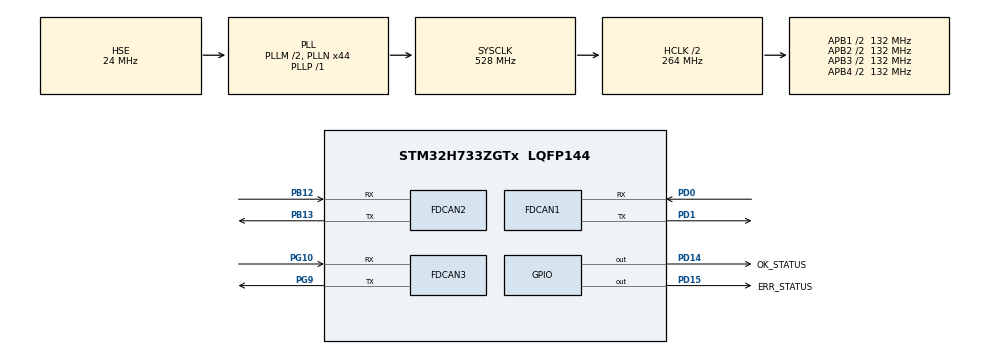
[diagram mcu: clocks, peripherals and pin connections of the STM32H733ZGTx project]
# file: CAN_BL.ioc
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FDCAN1.AutoRetransmission=ENABLE
FDCAN1.CalculateBaudRateNominal=500000
FDCAN1.CalculateTimeBitNominal=2000
FDCAN1.CalculateTimeQuantumNominal=125.0
FDCAN1.ExtFiltersNbr=1
FDCAN1.FrameFormat=FDCAN_FRAME_CLASSIC
FDCAN1.NominalPrescaler=3
FDCAN1.NominalTimeSeg1=10
FDCAN1.NominalTimeSeg2=5
FDCAN1.RxBuffersNbr=0
FDCAN1.RxFifo0ElmtSize=FDCAN_DATA_BYTES_8
FDCAN1.RxFifo0ElmtsNbr=16
FDCAN1.RxFifo1ElmtsNbr=16
FDCAN1.StdFiltersNbr=2
FDCAN1.TxBuffersNbr=0
FDCAN1.TxEventsNbr=0
FDCAN1.TxFifoQueueElmtsNbr=16
FDCAN2.AutoRetransmission=ENABLE
FDCAN2.CalculateBaudRateNominal=500000
FDCAN2.CalculateTimeBitNominal=2000
FDCAN2.CalculateTimeQuantumNominal=125.0
FDCAN2.ExtFiltersNbr=1
FDCAN2.FrameFormat=FDCAN_FRAME_CLASSIC
FDCAN2.NominalPrescaler=3
FDCAN2.NominalTimeSeg1=10
FDCAN2.NominalTimeSeg2=5
FDCAN2.RxBuffersNbr=0
FDCAN2.RxFifo0ElmtSize=FDCAN_DATA_BYTES_8
FDCAN2.RxFifo0ElmtsNbr=16
FDCAN2.RxFifo1ElmtsNbr=16
FDCAN2.StdFiltersNbr=2
FDCAN2.TxBuffersNbr=0
FDCAN2.TxEventsNbr=0
FDCAN2.TxFifoQueueElmtsNbr=16
FDCAN3.AutoRetransmission=ENABLE
FDCAN3.CalculateBaudRateNominal=500000
FDCAN3.CalculateTimeBitNominal=2000
FDCAN3.CalculateTimeQuantumNominal=125.0
FDCAN3.ExtFiltersNbr=1
FDCAN3.FrameFormat=FDCAN_FRAME_CLASSIC
FDCAN3.NominalPrescaler=3
FDCAN3.NominalTimeSeg1=10
FDCAN3.NominalTimeSeg2=5
FDCAN3.RxBuffersNbr=0
FDCAN3.RxFifo0ElmtSize=FDCAN_DATA_BYTES_8
FDCAN3.RxFifo0ElmtsNbr=16
FDCAN3.RxFifo1ElmtsNbr=16
FDCAN3.StdFiltersNbr=2
FDCAN3.TxBuffersNbr=0
FDCAN3.TxEventsNbr=0
FDCAN3.TxFifoQueueElmtsNbr=16
Mcu.Family=STM32H7
Mcu.Name=STM32H733ZGTx
Mcu.Package=LQFP144
NVIC.FDCAN1_IT0_IRQn=true\:2\:0\:true\:false\:true\:true\:true\:true
NVIC.FDCAN2_IT0_IRQn=true\:2\:0\:true\:false\:true\:true\:true\:true
NVIC.FDCAN3_IT0_IRQn=true\:2\:0\:true\:false\:true\:true\:true\:true
NVIC.PriorityGroup=NVIC_PRIORITYGROUP_4
PA13(JTMS/SWDIO).Mode=Serial_Wire
PA13(JTMS/SWDIO).Signal=DEBUG_JTMS-SWDIO
PA14(JTCK/SWCLK).Mode=Serial_Wire
PA14(JTCK/SWCLK).Signal=DEBUG_JTCK-SWCLK
PB12.Mode=FDCAN_Activate
PB12.Signal=FDCAN2_RX
PB13.Mode=FDCAN_Activate
PB13.Signal=FDCAN2_TX
PD0.Mode=FDCAN_Activate
PD0.Signal=FDCAN1_RX
PD1.Mode=FDCAN_Activate
PD1.Signal=FDCAN1_TX
PD14.GPIO_Label=OK_STATUS
PD14.Signal=GPIO_Output
PD15.GPIO_Label=ERR_STATUS
PD15.Signal=GPIO_Output
PG10.Mode=FDCAN_Activate
PG10.Signal=FDCAN3_RX
PG9.Mode=FDCAN_Activate
PG9.Signal=FDCAN3_TX
PH0-OSC_IN.Mode=HSE-External-Oscillator
PH0-OSC_IN.Signal=RCC_OSC_IN
PH1-OSC_OUT.Mode=HSE-External-Oscillator
PH1-OSC_OUT.Signal=RCC_OSC_OUT
ProjectManager.HeapSize=0x200
ProjectManager.StackSize=0x400
ProjectManager.TargetToolchain=CMake
RCC.ADCCLockSelection=RCC_ADCCLKSOURCE_PLL2
RCC.ADCFreq_Value=96000000
RCC.APB1Freq_Value=132000000
RCC.APB2Freq_Value=132000000
RCC.APB3Freq_Value=132000000
RCC.APB4Freq_Value=132000000
RCC.CECCLockSelection=RCC_CECCLKSOURCE_LSI
RCC.CKPERSourceSelection=RCC_CLKPSOURCE_HSI
RCC.CSI_VALUE=4000000
RCC.CortexFreq_Value=528000000
RCC.Cortex_DivARG=SystemCoreClock/1000
RCC.D1PPRE=RCC_APB3_DIV2
RCC.D2PPRE1=RCC_APB1_DIV2
RCC.D2PPRE2=RCC_APB2_DIV2
RCC.D3PPRE=RCC_APB4_DIV2
RCC.DFSDMCLockSelection=RCC_DFSDM1CLKSOURCE_D2PCLK1
RCC.DIVM1=2
RCC.DIVM2=2
RCC.DIVN1=44
RCC.DIVN2=16
RCC.DIVP1=1
RCC.DIVQ1=4
RCC.DIVR2=1
RCC.EXTERNAL_CLOCK_VALUE=12288000
RCC.FDCANCLockSelection=RCC_FDCANCLKSOURCE_HSE
RCC.FMCCLockSelection=RCC_FMCCLKSOURCE_D1HCLK
RCC.HCLKFreq_Value=264000000
RCC.HPRE=RCC_HCLK_DIV2
RCC.HSE_VALUE=24000000
RCC.HSI48_VALUE=48000000
RCC.HSI_VALUE=64000000
RCC.I2C123CLockSelection=RCC_I2C1235CLKSOURCE_D2PCLK1
RCC.I2C4CLockSelection=RCC_I2C4CLKSOURCE_D3PCLK1
RCC.LPTIM1CLockSelection=RCC_LPTIM1CLKSOURCE_D2PCLK1
RCC.LPTIM2CLockSelection=RCC_LPTIM2CLKSOURCE_D3PCLK1
RCC.LPTIM345CLockSelection=RCC_LPTIM345CLKSOURCE_D3PCLK1
RCC.LPUART1CLockSelection=RCC_LPUART1CLKSOURCE_D3PCLK1
RCC.LSE_VALUE=32768
RCC.PLL2FRACN=0
RCC.PLL3FRACN=0
RCC.PLLFRACN=0
RCC.PLLSourceVirtual=RCC_PLLSOURCE_HSE
RCC.QSPICLockSelection=RCC_OSPICLKSOURCE_D1HCLK
RCC.RCC_MCO1Source=RCC_MCO1SOURCE_HSI
RCC.RCC_MCO2Source=RCC_MCO2SOURCE_SYSCLK
RCC.RNGCLockSelection=RCC_RNGCLKSOURCE_HSI48
RCC.SAI1CLockSelection=RCC_SAI1CLKSOURCE_PLL
RCC.SAI4ACLockSelection=RCC_SAI4ACLKSOURCE_PLL
RCC.SAI4BCLockSelection=RCC_SAI4BCLKSOURCE_PLL
RCC.SDMMC1CLockSelection=RCC_SDMMCCLKSOURCE_PLL2
RCC.SPDIFCLockSelection=RCC_SPDIFRXCLKSOURCE_PLL
RCC.SPI123CLockSelection=RCC_SPI123CLKSOURCE_PLL
RCC.SPI6CLockSelection=RCC_SPI6CLKSOURCE_D3PCLK1
RCC.SWPCLockSelection=RCC_SWPMI1CLKSOURCE_D2PCLK1
RCC.SYSCLKFreq_VALUE=528000000
RCC.SYSCLKSource=RCC_SYSCLKSOURCE_PLLCLK
RCC.Spi45ClockSelection=RCC_SPI45CLKSOURCE_D2PCLK1
RCC.USART16CLockSelection=RCC_USART16910CLKSOURCE_D2PCLK2
RCC.USART234578CLockSelection=RCC_USART234578CLKSOURCE_D2PCLK1
RCC.USBCLockSelection=RCC_USBCLKSOURCE_PLL
RCC.USBFreq_Value=132000000
VP_MEMORYMAP_VS_MEMORYMAP.Mode=CurAppReg
board=custom

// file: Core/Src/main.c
/* USER CODE BEGIN Header */
/**
 ******************************************************************************
 * @file           : main.c
 * @brief          : Main program body
 ******************************************************************************
 * @attention
 *
 * Copyright (c) 2025 STMicroelectronics.
 * All rights reserved.
 *
 * This software is licensed under terms that can be found in the LICENSE file
 * in the root directory of this software component.
 * If no LICENSE file comes with this software, it is provided AS-IS.
 *
 ******************************************************************************
 */
/* USER CODE END Header */
#include "main.h"

/* USER CODE BEGIN Includes */

#include "stm32h7xx_hal.h"
#include "stm32h7xx_hal_rcc_ex.h"
#include "stm32h7xx_hal_pwr_ex.h"

#include "bl_app_validate.h"
#include "bl_memmap.h"
#include "bl_config.h"
#include "bl_dtc.h"
#include "bl_fault.h"
#include "bl_fdcan.h"
#include "bl_flashcount.h"
#include "bl_health.h"
#include "bl_iwdg.h"
#include "bl_live.h"
#include "bl_log.h"
#include "bl_node_id.h"
#include "bl_nvm.h"
#include "bl_provision.h"
#include "bl_obyte.h"
#include "bl_proto.h"

/* USER CODE END Includes */

/* USER CODE BEGIN PTD */
typedef void (*pFunction)(void);
/* USER CODE END PTD */

/* USER CODE BEGIN PD */
/* Flash layout / magic values come from bl_memmap.h.
 * Protocol constants and opcodes come from bl_proto.h. */

#define LED_OK_ON()         HAL_GPIO_WritePin(OK_STATUS_GPIO_Port, OK_STATUS_Pin, GPIO_PIN_SET)
#define LED_OK_OFF()        HAL_GPIO_WritePin(OK_STATUS_GPIO_Port, OK_STATUS_Pin, GPIO_PIN_RESET)
#define LED_OK_TOGGLE()		HAL_GPIO_TogglePin(OK_STATUS_GPIO_Port, OK_STATUS_Pin)

#define LED_ERR_ON()         HAL_GPIO_WritePin(ERR_STATUS_GPIO_Port, ERR_STATUS_Pin, GPIO_PIN_SET)
#define LED_ERR_OFF()        HAL_GPIO_WritePin(ERR_STATUS_GPIO_Port, ERR_STATUS_Pin, GPIO_PIN_RESET)
#define LED_ERR_TOGGLE()	 HAL_GPIO_TogglePin(ERR_STATUS_GPIO_Port, ERR_STATUS_Pin)

/* USER CODE END PD */

FDCAN_HandleTypeDef hfdcan1;
FDCAN_HandleTypeDef hfdcan2;
FDCAN_HandleTypeDef hfdcan3;

/* USER CODE BEGIN PV */
static uint8_t  g_AutoJumpEnabled  = 0U;
static uint32_t g_AutoJumpDeadline = 0U;

/* #146 H2: cache the (full-image-CRC) Bootloader_CheckApplication result so
 * the per-tick hot path (bl_health / bl_live, every main-loop iteration
 * during a session) doesn't re-CRC the whole app each pass and stall the RX
 * drain. Invalidated on any FLASH_* op via Bootloader_InvalidateAppCheckCache(). */
static uint8_t  g_appcheck_result = 0xFFU;
static uint8_t  g_appcheck_valid  = 0U;

/* #166/G-A2/NG-1: set once at boot from the bl_appcheck breadcrumb — true when
 * a PRIOR boot faulted while reading flash (the double-bit-ECC-on-partial-write
 * trap). On a recovery boot the BL skips every sector-7 + app read (which would
 * re-fault) and comes up minimal + reachable: NVM degraded, node-id at the
 * compile-time default, app reported invalid. */
static uint8_t  g_ecc_recovery = 0U;

/* USER CODE END PV */

void SystemClock_Config(void);
static void MX_GPIO_Init(void);
static void MX_FDCAN1_Init(void);
static void MX_FDCAN2_Init(void);
static void MX_FDCAN3_Init(void);
/* USER CODE BEGIN PFP */
static void Bootloader_Init(void);
static void Bootloader_MainLoop(void);
static void Bootloader_FdcanBusOffRecover(uint32_t now_ms);
/* Bootloader_ConfigFdcanFilters moved to bl_fdcan_configure_filters in
 * bl_fdcan.c (#120 Phase A) — see bl_fdcan.h. */
/* Bootloader_JumpToApplication / Bootloader_CheckApplication are declared
 * with external linkage in main.h so bl_proto.c can call them for
 * CMD_RESET (mode=to-app) and CMD_JUMP. */
static uint32_t Bootloader_CalcCrc32(uint32_t address, uint32_t lengthBytes);
static uint8_t  Bootloader_CheckApplicationCompute(void);   /* #146 H2: uncached core */
static uint8_t  Bootloader_CheckApplicationInner(void);     /* #166: raw read, ECC-unsafe */
static uint8_t  Bootloader_IsBootRequestActive(void);
static uint8_t  Bootloader_IsBootAppRequestActive(void);   /* #142 */

/* USER CODE END PFP */

int main(void)
{

  /* USER CODE BEGIN 1 */
	/* #174 (NG-2 / NG-11): arm the IWDG as the very FIRST thing the BL does —
	 * before HAL_Init and SystemClock_Config. bl_iwdg_start is pure IWDG1
	 * register writes off the LSI, with no HAL or main-clock dependency, so it
	 * is safe here. This backstops every cold-boot hang that runs before the
	 * watchdog used to be armed in Bootloader_Init — most importantly the
	 * unbounded VOSRDY wait in SystemClock_Config (a regulator that never
	 * reports ready would otherwise hang forever with no recovery) — and
	 * re-periods the inherited ~100 ms app IWDG (the 0x002 app->BL reset path)
	 * to the BL's ~8 s at the earliest possible instant. Bootloader_Init
	 * re-arms it once the clocks are up. */
	bl_iwdg_start();
  /* USER CODE END 1 */

  /* MCU Configuration--------------------------------------------------------*/

  /* Reset of all peripherals, Initializes the Flash interface and the Systick. */
  HAL_Init();

  /* Configure the system clock */
  SystemClock_Config();

  /* USER CODE BEGIN SysInit */
	/* #174 (NG-4): enable the HSE Clock Security System now the PLL is locked.
	 * If the HSE dies at runtime (cracked crystal, vibration, solder fatigue)
	 * the CSS raises an NMI -> NMI_Handler -> bl_fault_reboot, turning a silent
	 * hung-clock state into a deterministic reboot. NOTE: the FDCAN kernel clock
	 * is wired to the HSE, so CAN is still dead after such a reboot — crystal-
	 * independent CAN (FDCAN off a PLL/HSI source) is the larger fix tracked in
	 * #163; CSS here is the cheap deterministic-failure half. */
	HAL_RCC_EnableCSS();
  /* USER CODE END SysInit */

  /* Initialize all configured peripherals */
  MX_GPIO_Init();
  MX_FDCAN1_Init();
  MX_FDCAN2_Init();
  MX_FDCAN3_Init();
  /* USER CODE BEGIN 2 */

	Bootloader_Init();
	Bootloader_MainLoop();  /* never returns — either auto-jumps to app
	                           or keeps serving CAN frames forever */

  /* USER CODE END 2 */

  /* Infinite loop */
	while (1) {

	}
}

void SystemClock_Config(void)
{
  RCC_OscInitTypeDef RCC_OscInitStruct = {0};
  RCC_ClkInitTypeDef RCC_ClkInitStruct = {0};

  /** Supply configuration update enable
  */
  HAL_PWREx_ConfigSupply(PWR_LDO_SUPPLY);

  /** Configure the main internal regulator output voltage
  */
  __HAL_PWR_VOLTAGESCALING_CONFIG(PWR_REGULATOR_VOLTAGE_SCALE0);

  while(!__HAL_PWR_GET_FLAG(PWR_FLAG_VOSRDY)) {}

  /** Initializes the RCC Oscillators according to the specified parameters
  * in the RCC_OscInitTypeDef structure.
  */
  RCC_OscInitStruct.OscillatorType = RCC_OSCILLATORTYPE_HSE;
  RCC_OscInitStruct.HSEState = RCC_HSE_ON;
  RCC_OscInitStruct.PLL.PLLState = RCC_PLL_ON;
  RCC_OscInitStruct.PLL.PLLSource = RCC_PLLSOURCE_HSE;
  RCC_OscInitStruct.PLL.PLLM = 2;
  RCC_OscInitStruct.PLL.PLLN = 44;
  RCC_OscInitStruct.PLL.PLLP = 1;
  RCC_OscInitStruct.PLL.PLLQ = 4;
  RCC_OscInitStruct.PLL.PLLR = 2;
  RCC_OscInitStruct.PLL.PLLRGE = RCC_PLL1VCIRANGE_3;
  RCC_OscInitStruct.PLL.PLLVCOSEL = RCC_PLL1VCOWIDE;
  RCC_OscInitStruct.PLL.PLLFRACN = 0;
  if (HAL_RCC_OscConfig(&RCC_OscInitStruct) != HAL_OK)
  {
    Error_Handler();
  }

  /** Initializes the CPU, AHB and APB buses clocks
  */
  RCC_ClkInitStruct.ClockType = RCC_CLOCKTYPE_HCLK|RCC_CLOCKTYPE_SYSCLK
                              |RCC_CLOCKTYPE_PCLK1|RCC_CLOCKTYPE_PCLK2
                              |RCC_CLOCKTYPE_D3PCLK1|RCC_CLOCKTYPE_D1PCLK1;
  RCC_ClkInitStruct.SYSCLKSource = RCC_SYSCLKSOURCE_PLLCLK;
  RCC_ClkInitStruct.SYSCLKDivider = RCC_SYSCLK_DIV1;
  RCC_ClkInitStruct.AHBCLKDivider = RCC_HCLK_DIV2;
  RCC_ClkInitStruct.APB3CLKDivider = RCC_APB3_DIV2;
  RCC_ClkInitStruct.APB1CLKDivider = RCC_APB1_DIV2;
  RCC_ClkInitStruct.APB2CLKDivider = RCC_APB2_DIV2;
  RCC_ClkInitStruct.APB4CLKDivider = RCC_APB4_DIV2;

  if (HAL_RCC_ClockConfig(&RCC_ClkInitStruct, FLASH_LATENCY_3) != HAL_OK)
  {
    Error_Handler();
  }
}

/* #144 (C6): the FDCAN nominal bit-timing in MX_FDCAN{1,2,3}_Init below
 * (NominalPrescaler=3, Seg1=10, Seg2=5 -> 16 Tq) yields exactly 500 kbps at a
 * 68.75% sample point ONLY with a 24 MHz FDCAN kernel clock — which is the HSE
 * crystal (RCC_FDCANCLKSOURCE_HSE, see stm32h7xx_hal_msp.c). A mis-stuffed
 * crystal silently shifts the baud out of CAN tolerance: the BL comes up
 * "alive" but unreachable on the bus — the worst failure for a flash tool. So
 * 24 MHz is a hard BOM requirement; fail the BUILD rather than ship a brick.
 * If the crystal ever changes, re-derive the three MX_FDCAN*_Init timings +
 * this assert.
 *
 * #171: reverted 1 Mbps -> 500 kbps. 1 Mbps ran too close to the bus's
 * signal-integrity margin — mid-write bit errors turned routine reflashes into
 * #166 bricks. 500 kbps (doubled bit time) at a 68.75% sample point restores
 * the margin; the multi-bus design (#120) is unchanged, only the rate. The
 * timing (Prescaler 3, Seg1 10, Seg2 5, 16 Tq) is matched bit-for-bit to the
 * AMS app's revert (IFS08-CE-AMS#351) so every node on the bus samples at the
 * same point. */
_Static_assert(HSE_VALUE == 24000000UL,
               "FDCAN bit-timing assumes a 24 MHz HSE (RCC_FDCANCLKSOURCE_HSE); "
               "a different crystal shifts the CAN baud out of tolerance — "
               "re-derive MX_FDCAN*_Init Prescaler/Seg1/Seg2 or fix the BOM (#144)");

static void MX_FDCAN1_Init(void)
{

  hfdcan1.Instance = FDCAN1;
  hfdcan1.Init.FrameFormat = FDCAN_FRAME_CLASSIC;
  hfdcan1.Init.Mode = FDCAN_MODE_NORMAL;
  hfdcan1.Init.AutoRetransmission = ENABLE;   /* #94: MUST be ENABLE — lost-arbitration frames retried, not silently dropped */
  hfdcan1.Init.TransmitPause = DISABLE;
  hfdcan1.Init.ProtocolException = DISABLE;
  hfdcan1.Init.NominalPrescaler = 3;
  hfdcan1.Init.NominalSyncJumpWidth = 1;
  hfdcan1.Init.NominalTimeSeg1 = 10;
  hfdcan1.Init.NominalTimeSeg2 = 5;
  hfdcan1.Init.DataPrescaler = 1;
  hfdcan1.Init.DataSyncJumpWidth = 1;
  hfdcan1.Init.DataTimeSeg1 = 1;
  hfdcan1.Init.DataTimeSeg2 = 1;
  hfdcan1.Init.MessageRAMOffset = 0;
  hfdcan1.Init.StdFiltersNbr = 2;
  hfdcan1.Init.ExtFiltersNbr = 1;
  hfdcan1.Init.RxFifo0ElmtsNbr = 16;
  hfdcan1.Init.RxFifo0ElmtSize = FDCAN_DATA_BYTES_8;
  hfdcan1.Init.RxFifo1ElmtsNbr = 16;
  hfdcan1.Init.RxFifo1ElmtSize = FDCAN_DATA_BYTES_8;
  hfdcan1.Init.RxBuffersNbr = 0;
  hfdcan1.Init.RxBufferSize = FDCAN_DATA_BYTES_8;
  hfdcan1.Init.TxEventsNbr = 0;
  hfdcan1.Init.TxBuffersNbr = 0;
  hfdcan1.Init.TxFifoQueueElmtsNbr = 16;
  hfdcan1.Init.TxFifoQueueMode = FDCAN_TX_FIFO_OPERATION;
  hfdcan1.Init.TxElmtSize = FDCAN_DATA_BYTES_8;
  if (HAL_FDCAN_Init(&hfdcan1) != HAL_OK)
  {
    Error_Handler();
  }

}

static void MX_FDCAN2_Init(void)
{

  hfdcan2.Instance = FDCAN2;
  hfdcan2.Init.FrameFormat = FDCAN_FRAME_CLASSIC;
  hfdcan2.Init.Mode = FDCAN_MODE_NORMAL;
  hfdcan2.Init.AutoRetransmission = ENABLE;   /* #94: MUST be ENABLE — lost-arbitration frames retried, not silently dropped */
  hfdcan2.Init.TransmitPause = DISABLE;
  hfdcan2.Init.ProtocolException = DISABLE;
  hfdcan2.Init.NominalPrescaler = 3;
  hfdcan2.Init.NominalSyncJumpWidth = 1;
  hfdcan2.Init.NominalTimeSeg1 = 10;
  hfdcan2.Init.NominalTimeSeg2 = 5;
  hfdcan2.Init.DataPrescaler = 1;
  hfdcan2.Init.DataSyncJumpWidth = 1;
  hfdcan2.Init.DataTimeSeg1 = 1;
  hfdcan2.Init.DataTimeSeg2 = 1;
  hfdcan2.Init.MessageRAMOffset = 0;
  hfdcan2.Init.StdFiltersNbr = 2;
  hfdcan2.Init.ExtFiltersNbr = 1;
  hfdcan2.Init.RxFifo0ElmtsNbr = 16;
  hfdcan2.Init.RxFifo0ElmtSize = FDCAN_DATA_BYTES_8;
  hfdcan2.Init.RxFifo1ElmtsNbr = 16;
  hfdcan2.Init.RxFifo1ElmtSize = FDCAN_DATA_BYTES_8;
  hfdcan2.Init.RxBuffersNbr = 0;
  hfdcan2.Init.RxBufferSize = FDCAN_DATA_BYTES_8;
  hfdcan2.Init.TxEventsNbr = 0;
  hfdcan2.Init.TxBuffersNbr = 0;
  hfdcan2.Init.TxFifoQueueElmtsNbr = 16;
  hfdcan2.Init.TxFifoQueueMode = FDCAN_TX_FIFO_OPERATION;
  hfdcan2.Init.TxElmtSize = FDCAN_DATA_BYTES_8;
  if (HAL_FDCAN_Init(&hfdcan2) != HAL_OK)
  {
    Error_Handler();
  }

}

static void MX_FDCAN3_Init(void)
{

  hfdcan3.Instance = FDCAN3;
  hfdcan3.Init.FrameFormat = FDCAN_FRAME_CLASSIC;
  hfdcan3.Init.Mode = FDCAN_MODE_NORMAL;
  hfdcan3.Init.AutoRetransmission = ENABLE;   /* #94: MUST be ENABLE — lost-arbitration frames retried, not silently dropped */
  hfdcan3.Init.TransmitPause = DISABLE;
  hfdcan3.Init.ProtocolException = DISABLE;
  hfdcan3.Init.NominalPrescaler = 3;
  hfdcan3.Init.NominalSyncJumpWidth = 1;
  hfdcan3.Init.NominalTimeSeg1 = 10;
  hfdcan3.Init.NominalTimeSeg2 = 5;
  hfdcan3.Init.DataPrescaler = 1;
  hfdcan3.Init.DataSyncJumpWidth = 1;
  hfdcan3.Init.DataTimeSeg1 = 1;
  hfdcan3.Init.DataTimeSeg2 = 1;
  hfdcan3.Init.MessageRAMOffset = 0;
  hfdcan3.Init.StdFiltersNbr = 2;
  hfdcan3.Init.ExtFiltersNbr = 1;
  hfdcan3.Init.RxFifo0ElmtsNbr = 16;
  hfdcan3.Init.RxFifo0ElmtSize = FDCAN_DATA_BYTES_8;
  hfdcan3.Init.RxFifo1ElmtsNbr = 16;
  hfdcan3.Init.RxFifo1ElmtSize = FDCAN_DATA_BYTES_8;
  hfdcan3.Init.RxBuffersNbr = 0;
  hfdcan3.Init.RxBufferSize = FDCAN_DATA_BYTES_8;
  hfdcan3.Init.TxEventsNbr = 0;
  hfdcan3.Init.TxBuffersNbr = 0;
  hfdcan3.Init.TxFifoQueueElmtsNbr = 16;
  hfdcan3.Init.TxFifoQueueMode = FDCAN_TX_FIFO_OPERATION;
  hfdcan3.Init.TxElmtSize = FDCAN_DATA_BYTES_8;
  if (HAL_FDCAN_Init(&hfdcan3) != HAL_OK)
  {
    Error_Handler();
  }

}

static void MX_GPIO_Init(void)
{
  GPIO_InitTypeDef GPIO_InitStruct = {0};

  /* GPIO Ports Clock Enable */
  __HAL_RCC_GPIOH_CLK_ENABLE();
  __HAL_RCC_GPIOB_CLK_ENABLE();
  __HAL_RCC_GPIOD_CLK_ENABLE();
  __HAL_RCC_GPIOA_CLK_ENABLE();
  __HAL_RCC_GPIOG_CLK_ENABLE();

  /*Configure GPIO pin Output Level */
  HAL_GPIO_WritePin(GPIOD, OK_STATUS_Pin|ERR_STATUS_Pin, GPIO_PIN_RESET);

  /*Configure GPIO pins : OK_STATUS_Pin ERR_STATUS_Pin */
  GPIO_InitStruct.Pin = OK_STATUS_Pin|ERR_STATUS_Pin;
  GPIO_InitStruct.Mode = GPIO_MODE_OUTPUT_PP;
  GPIO_InitStruct.Pull = GPIO_NOPULL;
  GPIO_InitStruct.Speed = GPIO_SPEED_FREQ_LOW;
  HAL_GPIO_Init(GPIOD, &GPIO_InitStruct);

}

/* USER CODE BEGIN 4 */

/* ===================== BOOTLOADER CORE ========================= */

static void Bootloader_Init(void) {
	/* #125 H6 / #174: re-arm + reload the IWDG. The PRIMARY arm now happens
	 * as the first statement of main() (NG-2/NG-11) so the watchdog covers
	 * clock bring-up too; this call re-confirms the BL's ~8 s period and
	 * gives a fresh reload now that the (potentially slow) clock + FDCAN
	 * init is done, before the NVM scan / filter config below. Idempotent. */
	bl_iwdg_start();

	LED_OK_ON();
	LED_ERR_OFF();

	/* #125 H6: enable the DWT cycle counter, used by bl_flash_erase to
	 * time the erase. HAL_GetTick can't measure it — on the single-bank
	 * H733 the CPU stalls on instruction fetch for the whole erase, so
	 * SysTick interrupts starve and the tick barely advances. CYCCNT is
	 * clock-driven and counts through the stall. Set once, here. */
	CoreDebug->DEMCR |= CoreDebug_DEMCR_TRCENA_Msk;
	DWT->CYCCNT = 0U;
	DWT->CTRL  |= DWT_CTRL_CYCCNTENA_Msk;

	/* Latch the reset cause before anything else has a chance to clear
	 * RCC->RSR. Health reporting depends on this surviving the rest of
	 * the boot sequence. (The persistent flash-op counter is restored
	 * later, after bl_nvm_init — see bl_flashcount_restore below.) */
	bl_health_init();

	/* Bring up the DTC table in Backup SRAM. Runs after bl_health_init
	 * so bl_dtc_log can timestamp entries against uptime. Also validates
	 * the magic so a power-cycled BKPSRAM starts from a clean slate. */
	bl_dtc_init();

	/* Bring up the log ring in Backup SRAM (adjacent to the DTC table).
	 * Same persistence semantics — a host that reconnects after a crash
	 * can replay the last ~1 KB of bootloader log by issuing
	 * LOG_STREAM_START. */
	bl_log_init();
	bl_log_info("bootloader up (reset_cause=%u)",
	            (unsigned int)bl_health_reset_cause());

	/* #125 H6 (reset-on-spin): if the previous boot ended in a
	 * controlled reboot from a terminal fault (a CPU fault handler,
	 * Error_Handler, or a failed FDCAN init), bl_fault left a
	 * reset-surviving breadcrumb. Log it now — in this safe post-reset
	 * context, where bl_dtc_log's NOTIFY path is fine — so the cause is
	 * visible via `diagnose dtc` / health.last_dtc_code. One-shot:
	 * take_pending clears it. */
	uint8_t fault_reason = BL_FAULT_NONE;
	if (bl_fault_take_pending(&fault_reason)) {
		bl_dtc_log(BL_DTC_CPU_FAULT, BL_DTC_SEV_FATAL, (uint32_t)fault_reason);
		bl_log_error("recovered from fault reboot (reason=%u)",
		             (unsigned int)fault_reason);
	}

	/* Zero the live-data counters. The snapshot is pulled together on
	 * demand in bl_live_tick, so no persistent state needs initialising
	 * beyond this. */
	bl_live_init();

	/* #166: clear any flash error/ECC state latched by a prior interrupted
	 * write, before the first flash read (bl_nvm_init below) or any program.
	 * A power-cut mid-write can leave the controller with a stale error or
	 * lock latch that would otherwise reject the recovery reflash. (The
	 * corrupt *word* itself still double-bit-ECC-faults when read — that is
	 * handled by the bl_appcheck guard around app validation; this just keeps
	 * the flash controller's own status clean.) */
	__HAL_FLASH_CLEAR_FLAG(FLASH_FLAG_ALL_ERRORS_BANK1);

	/* #166/G-A2/NG-1: did a prior boot fault while reading flash? bl_appcheck
	 * stamps a reset-surviving breadcrumb on any fault taken while the guard is
	 * armed; consume it once here. The two sector-7 reads below (bl_nvm_init's
	 * scan + the node-id read) run BEFORE CAN is up — an ECC fault in either
	 * would otherwise reboot-loop the chip unreachable, exactly #166 in a read
	 * its app-only guard never covered. */
	g_ecc_recovery = bl_appcheck_take_pending();

	if (g_ecc_recovery) {
		/* Recovery boot: do NOT touch sector 7 (it may re-fault). Come up
		 * minimal + reachable — NVM degraded (no scan; writes rejected until
		 * NVM_FORMAT) and the node-id left at its compile-time default; the app
		 * check is skipped too (Bootloader_CheckApplicationCompute). Recover by
		 * issuing NVM_FORMAT then reflashing; discover the unit at the DEFAULT
		 * node-id meanwhile. */
		bl_log_warn("flash-read ECC fault last boot — NVM+app untrusted; NVM_FORMAT + reflash to recover (default node-id)");
		bl_nvm_init_degraded();
		/* Still resolve the node-id so the RX filter is built — in degraded
		 * mode the NVM read returns NOT_FOUND without scanning sector 7, so
		 * this falls back to the compile-time default id (no fault). */
		bl_node_id_init_from_nvm();
	} else {
		/* Normal boot. Arm the breadcrumb guard around the sector-7 reads so an
		 * ECC fault here recovers (next boot lands in the branch above) instead
		 * of reboot-looping. The __DSB/__ISB before disarm forces any IMPRECISE
		 * bus fault from the reads to retire INSIDE the armed window — on
		 * Cortex-M7 a flash double-bit-ECC fault can be imprecise, and BusFault
		 * is not enabled, so it escalates to HardFault asynchronously (NG-1). */
		bl_appcheck_arm(true);

		/* Scan the NVM sector for the append point + highest seq. Safe even on
		 * a fully-erased sector (g_write_pos lands at 0). */
		bl_nvm_init();

		/* #183: consume a one-shot SWD provisioning seed (present + valid +
		 * no NVM node-id yet) into a proper NVM node-id entry. Inside the guard
		 * so a corrupt seed word ECC-faults into recovery, not a brick; before
		 * the node-id resolve below so a freshly-seeded id takes effect now. */
		(void)bl_provision_consume_seed();

		/* Resolve the effective node ID now that NVM is queryable; must run
		 * BEFORE the FDCAN filter config (the filter is built from the ID). */
		bl_node_id_init_from_nvm();

		/* #187: restore the persistent flash-op counter. Must follow
		 * bl_nvm_init (before it the read scans zero slots and returns
		 * NOT_FOUND -> the counter restarted at 0 every boot) and sits inside
		 * the guard like every other sector-7 read. Skipped on the degraded
		 * path above: the counter starts at 0 for a recovery boot. */
		bl_flashcount_restore();

		__DSB();
		__ISB();
		bl_appcheck_arm(false);
	}

	/* #120: the BL serves all three FDCAN peripherals at once (see
	 * bl_fdcan.c). MX_FDCAN{1,2,3}_Init in main() has already initialised
	 * the handles; the filter config + start_all below bring up every bus,
	 * so a host on whichever bus the board wires CAN to is heard. */

	/* Boot-time WRP self-check. Production-provisioned units are
	 * expected to have sector 0 (the bootloader) WRP-protected; a
	 * missing latch is not fatal but it earns a WARN log line so the
	 * host's log stream flags it on connect. The WRP_PROTECTED flag in
	 * both health and live-data reflects this same check, so a host
	 * can gate OB_APPLY_WRP on the flag. */
	if (!bl_obyte_is_sector_wrp_protected(0U)) {
		bl_log_warn("WRP: bootloader sector 0 not write-protected; run OB_APPLY_WRP to latch");
	}

	/* Filters must be configured while the FDCAN is still in Init mode —
	 * i.e. before HAL_FDCAN_Start. Filter shape is instance-agnostic;
	 * `bl_fdcan_configure_filters` lives in bl_fdcan.c (#120 Phase A)
	 * and accepts the resolved node-id directly so it doesn't have to
	 * include bl_node_id.h itself. */
	if (bl_fdcan_configure_filters(bl_node_id_get()) != HAL_OK) {
		/* #125 H6: a failed FDCAN bring-up used to spin here forever —
		 * the board went dead with no CAN, unflashable. Reboot instead;
		 * a transient init failure self-recovers, and the breadcrumb
		 * surfaces a BL_DTC_CPU_FAULT next boot. */
		LED_ERR_ON();
		bl_fault_reboot(BL_FAULT_FDCAN_INIT);
	}

	if (bl_fdcan_start_all() != HAL_OK) {
		LED_ERR_ON();
		bl_fault_reboot(BL_FAULT_FDCAN_INIT);
	}

	/* #125 M3: guard the issue #94 fix. AutoRetransmission MUST be
	 * ENABLE or lost-arbitration frames are silently dropped while
	 * tx->seq has already advanced — which corrupts multi-frame TX
	 * sequencing on a contended bus (the #94 Bug B signature). That's
	 * set in MX_FDCAN2_Init, but a CubeMX regeneration could flip it
	 * back with no test catching it. Read the LIVE peripheral register
	 * (CCCR.DAR = "Disable Automatic Retransmission") rather than the
	 * RAM Init struct, so this actually reflects hardware state. DAR
	 * set ⇒ retransmission disabled ⇒ regression. Log loudly; the BL
	 * still runs (degraded) so the bus stays reachable to reflash a
	 * corrected build. */
	for (uint8_t b = 0U; b < BL_FDCAN_BUS_COUNT; b++) {
		if ((bl_fdcan_bus(b)->Instance->CCCR & FDCAN_CCCR_DAR) != 0U) {
			bl_log_error("FDCAN%u AutoRetransmission DISABLED (CCCR.DAR set) — "
			             "issue #94 regression; multi-frame TX will desync",
			             (unsigned int)(b + 1U));
		}
	}

	/* NOTE on FDCAN interrupts: the main loop drains RX_FIFO0 by
	 * polling (HAL_FDCAN_GetRxFifoFillLevel + GetRxMessage below), so
	 * we deliberately do NOT activate FDCAN_IT_RX_FIFO0_NEW_MESSAGE.
	 *
	 * The previous code enabled the notification but never overrode
	 * HAL_FDCAN_RxFifo0Callback — so every RX frame entered the IRQ
	 * (FDCAN2_IT0_IRQHandler → HAL_FDCAN_IRQHandler) only to dispatch
	 * the default weak callback and return. Pure overhead, and a
	 * footgun for anyone who later added a real callback expecting
	 * it to actually drive RX while the main loop was still polling
	 * — concurrent drain of the same FIFO would have dropped frames.
	 * Audit follow-up (#68 last bullet). */

	/* #142: honour a one-shot "boot the app" request first. handle_jump /
	 * handle_reset set BL_BOOT_APP_MAGIC + reset when a flash write happened
	 * this session, so a write-then-jump reaches the app through a clean
	 * reset (the flash is idle again, cold-equivalent) rather than a direct
	 * warm jump that can leave the freshly-written app stuck. Jump straight
	 * to the just-written, re-validated app. */
	if (Bootloader_IsBootAppRequestActive()) {
		if (Bootloader_CheckApplication() == 0x00U) {
			Bootloader_JumpToApplication();   /* never returns on success */
		}
		/* App not valid (shouldn't happen right after a verified write) —
		 * fall through to listen mode rather than brick. */
		g_AutoJumpEnabled = 0U;
	} else {
		/* Check if application explicitly requested to stay in bootloader */
		uint8_t bootReq = Bootloader_IsBootRequestActive();

		if (bootReq) {
			/* Stay in bootloader, do not arm auto-jump */
			g_AutoJumpEnabled = 0U;
		} else {
			/* Normal behavior: arm auto-jump if a valid application is present */
			uint8_t appStatus = Bootloader_CheckApplication();
			if (appStatus == 0x00U) {
				g_AutoJumpEnabled = 1U;
				g_AutoJumpDeadline = HAL_GetTick() + 2000U; /* e.g. 2 seconds window */
			} else {
				g_AutoJumpEnabled = 0U;
			}
		}
	}
}

/* #125 C1: poll FDCAN protocol status and recover from Bus_Off.
 *
 * On Bus_Off the M_CAN sets CCCR.INIT and halts both TX and RX — the
 * BL stops ACKing and the host's session dies; the device is
 * unflashable over CAN until a power-cycle (and re-enters Bus_Off if
 * the fault persists). Recovery is a Stop→Start: HAL_FDCAN_Stop puts
 * the peripheral back to READY (INIT stays set), HAL_FDCAN_Start
 * clears INIT and arms the M_CAN's automatic recovery (it rejoins
 * after 128×11 consecutive recessive bits — ~2.8 ms of idle bus at
 * 500 kbps). The two RX filters live in message RAM, which Stop/Start
 * does NOT touch, so they survive — no need to reconfigure.
 *
 * Rate-limit: act on the transition INTO Bus_Off, then at most once
 * per BL_FDCAN_BUSOFF_RETRY_MS while it persists. Without this, calling
 * Stop/Start every loop iteration would continually restart the
 * recovery sequence and the node would never actually rejoin.
 *
 * GetProtocolStatus is a cheap PSR register read; safe to poll every
 * iteration. The Stop/Start only runs on an actual fault (rare).
 *
 * Observability (so the bench can confirm it fired): a per-boot
 * recovery counter in the health record (`fdcan_recovery_count`), a
 * BL_DTC_FDCAN_BUSOFF DTC carrying the attempt count, and a WARN log
 * line. */
#define BL_FDCAN_BUSOFF_RETRY_MS   100U

static void Bootloader_FdcanBusOffRecover(uint32_t now_ms) {
	static uint8_t  s_was_busoff[BL_FDCAN_BUS_COUNT]      = { 0U };
	static uint32_t s_last_attempt_ms[BL_FDCAN_BUS_COUNT] = { 0U };

	/* Each bus recovers independently — one bus going Bus_Off (a shorted
	 * transceiver, a disconnected stub) must not disturb the others. */
	for (uint8_t b = 0U; b < BL_FDCAN_BUS_COUNT; b++) {
		FDCAN_HandleTypeDef *h = bl_fdcan_bus(b);

		FDCAN_ProtocolStatusTypeDef ps = { 0 };
		if (HAL_FDCAN_GetProtocolStatus(h, &ps) != HAL_OK) {
			continue;
		}

		if (ps.BusOff == 0U) {
			s_was_busoff[b] = 0U;
			continue;
		}

		/* Bus_Off is set. Act on the first detection, then rate-limited. */
		if (s_was_busoff[b] != 0U &&
		    (now_ms - s_last_attempt_ms[b]) < BL_FDCAN_BUSOFF_RETRY_MS) {
			continue;
		}
		s_was_busoff[b]      = 1U;
		s_last_attempt_ms[b] = now_ms;

		/* Stop/Start to clear INIT and rejoin. */
		(void)HAL_FDCAN_Stop(h);
		HAL_StatusTypeDef start_rc = HAL_FDCAN_Start(h);

		/* #174 (NG-9): a Stop/Start timeout latches h->State = ERROR, after
		 * which EVERY later HAL_FDCAN_Stop/Start is a no-op — the retry below
		 * would spin forever and the bus would wedge permanently deaf. If the
		 * Start didn't take, force the HAL back to READY (clearing any latched
		 * error) so the next poll genuinely re-attempts the rejoin instead of
		 * silently no-opping. */
		if (start_rc != HAL_OK) {
			h->State     = HAL_FDCAN_STATE_READY;
			h->ErrorCode = HAL_FDCAN_ERROR_NONE;
		}

		bl_health_record_fdcan_recovery();
		bl_dtc_log(BL_DTC_FDCAN_BUSOFF, BL_DTC_SEV_WARN,
		           bl_health_fdcan_recovery_count());
		bl_log_warn("FDCAN%u bus-off — Stop/Start recovery #%u",
		            (unsigned int)(b + 1U),
		            (unsigned int)bl_health_fdcan_recovery_count());
	}
}

/* #125 H3: max RX frames drained per main-loop pass. Sized to the
 * RX_FIFO0 depth (MX_FDCAN2_Init's RxFifo0ElmtsNbr = 16) so a full
 * FIFO can be cleared in one pass, while bounding the work so the
 * per-pass ticks (session watchdog, bus-off recovery) always run. */
#define BL_FDCAN_RX_DRAIN_BUDGET   16U

/* Drain up to BL_FDCAN_RX_DRAIN_BUDGET frames from one bus's RX FIFO0 and
 * dispatch each to the protocol layer (#120: the BL serves all three FDCAN
 * buses concurrently). Bounding the per-bus batch keeps a continuous flood
 * on one bus from starving the others — or the per-pass ticks. Each reply
 * is routed back to this bus via bl_fdcan_set_active(). */
static void Bootloader_DrainBus(FDCAN_HandleTypeDef *h) {
	FDCAN_RxHeaderTypeDef rxHeader;
	uint8_t rxData[8];

	uint8_t rx_budget = BL_FDCAN_RX_DRAIN_BUDGET;
	while (rx_budget > 0U &&
	       HAL_FDCAN_GetRxFifoFillLevel(h, FDCAN_RX_FIFO0) > 0U) {
		rx_budget--;
		if (HAL_FDCAN_GetRxMessage(h, FDCAN_RX_FIFO0, &rxHeader, rxData) != HAL_OK) {
			continue;
		}

		/* The bootloader only speaks classic 11-bit IDs; any extended-ID
		 * frame is ignored entirely. */
		if (rxHeader.IdType != FDCAN_STANDARD_ID) {
			continue;
		}

		/* `bl_proto_parse_id` returns false on malformed IDs (bits 10..5
		 * set, or reserved node→host IDs). This is the real alias guard: a
		 * single FDCAN mask filter can't enforce "bits 10:5 == 0", so e.g.
		 * the charger's 0x101 (0x101 & 0x1F == 0x01) reaches us looking like
		 * a node-1 unicast — parse_id is what rejects it. */
		bl_proto_id_t id;
		if (!bl_proto_parse_id(rxHeader.Identifier, &id)) {
			continue;
		}

		/* #154: cancel the auto-jump ONLY once a frame decodes as a valid BL
		 * command for us — never on bare reception. Cancelling before
		 * parse_id let a filter-aliased frame (charger 0x101 on FDCAN1)
		 * permanently strand the carrier in the BL on any reset while the
		 * charger was energised — no app, no pack supervision. */
		g_AutoJumpEnabled = 0U;

		/* `HAL_FDCAN_GetRxMessage` already extracts the DLC nibble into
		 * bits 3:0 of rxHeader.DataLength (see `FDCAN_ELEMENT_MASK_DLC >>
		 * 16U` in the STM32H7 HAL). For classic CAN the DLC value equals
		 * the byte count, so mask to the low nibble — NO extra shift.
		 * Earlier versions shifted >>16 again, zeroing every length and
		 * silently dropping every frame at bl_proto_dispatch's
		 * `length == 0U` gate. */
		uint8_t length = (uint8_t)(rxHeader.DataLength & 0x0FU);
		if (length > 8U) {
			length = 8U;
		}

		/* Reply on the bus this frame arrived on: bl_proto's TX path sends
		 * via bl_fdcan_get_handle(), which returns the active bus. */
		bl_fdcan_set_active(h);
		bl_proto_dispatch(&id, rxData, length);
	}
}

static void Bootloader_MainLoop(void) {
	while (1) {
		/* #125 H6: kick the hardware watchdog every iteration. The loop
		 * body is sub-millisecond except when a dispatch triggers a flash
		 * erase — and bl_flash_erase / bl_nvm refresh between sectors
		 * themselves, so the longest gap between kicks is a single ~1.8 s
		 * sector erase, well inside the ~8 s IWDG period. */
		bl_iwdg_refresh();

		/* #120: a host may be on any of the three buses — poll every one.
		 * Each bus drains into the shared protocol dispatcher; replies
		 * route back to the originating bus (bl_fdcan_set_active in the
		 * helper). The per-bus budget bounds a flood on any one bus so the
		 * per-pass ticks below always run. */
		for (uint8_t b = 0U; b < BL_FDCAN_BUS_COUNT; b++) {
			Bootloader_DrainBus(bl_fdcan_bus(b));
		}

		/* Protocol tick — drives ISO-TP reassembly timeout. NACKs any
		 * peer whose multi-frame transfer stalled past BL_ISOTP_TIMEOUT_MS. */
		uint32_t tick_now = HAL_GetTick();
		bl_proto_tick(tick_now);
		bl_health_tick(tick_now);
		bl_log_tick(tick_now);
		bl_live_tick(tick_now);

		/* #125 C1: FDCAN bus-off auto-recovery. If a hard bus fault
		 * (sustained TX-arbitration loss, dominant-bit fault) drove
		 * the node into Bus_Off, the M_CAN sets CCCR.INIT and stops
		 * TX + RX — the BL would otherwise be permanently deaf until a
		 * power-cycle, i.e. unflashable over CAN. This rejoins the bus
		 * automatically. */
		Bootloader_FdcanBusOffRecover(tick_now);

		/* Auto-jump window: if we booted with a valid app and nobody
		 * has talked to us before the deadline, hand control over. */
		if (g_AutoJumpEnabled) {
			uint32_t now = HAL_GetTick();

			if ((int32_t)(now - g_AutoJumpDeadline) >= 0) {
				g_AutoJumpEnabled = 0U;

				if (Bootloader_CheckApplication() == 0x00) {
					Bootloader_JumpToApplication();
				} else {
					LED_ERR_ON();
				}
			}
		}

		/* NO HAL_Delay() here — the previous `HAL_Delay(1)` capped the
		 * main loop at 1 kHz, which made the BL drain FDCAN RX_FIFO0 at
		 * 1 kHz. At 500 kbps the host emits classic-CAN CFs at ~3 kHz
		 * (one frame every ~330 µs), so RX_FIFO0 (depth 16) overflowed
		 * mid-burst on every multi-frame WRITE_CHUNK. The
		 * reassembler then saw a sequence gap and NACKed with
		 * BL_NACK_TRANSPORT_ERROR — issue #94 Bug A (the bench-side
		 * symptom that the AutoRetransmission fix didn't address).
		 *
		 * Polling at MHz scale is fine here: the bootloader is wall-
		 * powered, has no power budget to defend, and the bl_*_tick
		 * functions above all enforce their own emission cadences
		 * internally so they don't get noisy under a fast loop. The
		 * audit-follow-up "drain in ISR" remains a future option but
		 * isn't needed once the artificial throttle is removed. */
	}
}

/* Bootloader_ConfigFdcanFilters body has moved to
 * `bl_fdcan_configure_filters` in bl_fdcan.c (#120 Phase A). The
 * filter geometry is instance-agnostic; the only thing that changed
 * is the handle it operates on, which is what justified the move. */

/* ===================== JUMP TO APPLICATION ====================== */

void Bootloader_JumpToApplication(void) {
	uint32_t appStack = *(__IO uint32_t*) BL_APP_BASE;       // 0x08020000
	uint32_t appEntry = *(__IO uint32_t*) (BL_APP_BASE + 4U); // 0x08020004
	pFunction JumpToApp = (pFunction) appEntry;

	/* --- Basic healthchecks --- */

	/* 1) Stack pointer in valid RAM (DTCM or RAM_D1) — same predicate
	 *    Bootloader_CheckApplication uses, so a metadata-approved app
	 *    can't be silently rejected here. See bl_app_validate.h. */
	if (!bl_app_stack_in_legal_range(appStack)) {
		LED_ERR_ON();
		return;
	}

	/* 2) Entry point inside app in FLASH */
	if (appEntry < BL_APP_BASE || appEntry > BL_APP_END) {
		LED_ERR_ON();
		return;
	}

	/* --- Disable peripherals and jump --- */

	/* #125 H6: kick the watchdog once more right before handing off, so
	 * the app inherits a full ~8 s window to reach its own IWDG re-init
	 * (the AMS app gets there in ~50-70 ms; IFS08-CE-AMS#280). Must happen
	 * BEFORE the __set_MSP below — once the stack pointer is swapped to the
	 * app's stack we can no longer make ordinary function calls. */
	bl_iwdg_refresh();

	for (uint8_t b = 0U; b < BL_FDCAN_BUS_COUNT; b++) {
		HAL_FDCAN_DeInit(bl_fdcan_bus(b));
	}
	HAL_DeInit();

	/* Stop SysTick */
	SysTick->CTRL = 0;
	SysTick->LOAD = 0;
	SysTick->VAL = 0;

	__disable_irq();

	/* App vector table */
	SCB->VTOR = BL_APP_BASE;   // 0x08020000

	/* Make the VTOR write globally visible before anything that might
	 * read or be affected by it. On Cortex-M7 (vs M4 or M0) the CPU has
	 * a separate L1 I-cache and a speculative instruction prefetcher,
	 * plus a deeper pipeline; without an explicit data-synchronisation
	 * barrier here an instruction fetch that started before the VTOR
	 * change can still complete against the OLD vector table.
	 *
	 * The BL doesn't enable I/D-cache today, so the cache-coherency
	 * piece is latent — but ARM AN-298 (and the STM32H7 HAL examples)
	 * specify the DSB/ISB pair regardless of cache state, and we want
	 * this to be a no-op the day someone flips cache on to speed up
	 * CRC / VERIFY. Issue #67. */
	__DSB();

	/* Application stack */
	__set_MSP(appStack);

	/* Pipeline barrier so the MSP change is in effect before the next
	 * instruction starts executing. Without this the CPU is allowed
	 * to speculatively decode the upcoming `JumpToApp()` indirect
	 * branch with the OLD MSP in its rename state, which on a deep
	 * M7 pipeline could affect exception-frame placement if a fault
	 * triggered during the transition window. Issue #67. */
	__ISB();

	/* IRQs stay masked across the jump. The previous code re-enabled
	 * them here, which let any IRQ that was pending while masked (e.g.
	 * a queued SysTick — CTRL=0 above stops the counter but doesn't
	 * clear the pending flag) dispatch through the new VTOR before the
	 * application's Reset_Handler has run: the app's peripherals
	 * aren't initialised, its globals aren't relocated, stack-beyond-
	 * MSP isn't set up. Result: undefined behaviour at jump time,
	 * intermittent fault under bus load.
	 *
	 * The app's HAL_Init() / Reset_Handler will re-enable IRQs after
	 * it owns the CPU state. Matches the convention used by other
	 * production bootloaders (e.g. AM32-bootloader's blutil jump:
	 * disable once, never re-enable on the BL side). Issue #59. */

	/* Jump to app */
	JumpToApp();

	/* Just in case */
	while (1) {
	}
}
static uint32_t Bootloader_CalcCrc32(uint32_t address, uint32_t lengthBytes) {
	uint32_t crc = 0xFFFFFFFFU;
	uint8_t *ptr = (uint8_t*) address;

	for (uint32_t i = 0; i < lengthBytes; i++) {
		crc ^= ptr[i];
		for (uint32_t bit = 0; bit < 8; bit++) {
			if (crc & 1U) {
				crc = (crc >> 1) ^ 0xEDB88320U;  // polinomial CRC32-IEEE
			} else {
				crc >>= 1;
			}
		}
	}

	crc ^= 0xFFFFFFFFU;
	return crc;
}

static uint8_t Bootloader_CheckApplicationInner(void) {
	/* Read metadata from flash */
	uint32_t const *meta = (uint32_t const*) BL_APP_METADATA_ADDR;

	uint32_t magic = meta[0];
	uint32_t size = meta[1];
	uint32_t crc = meta[2];
	uint32_t appBase = meta[3];

	if (magic != BL_APP_META_MAGIC) {
		return 0x10;  // incorrect magic -> no valid firmware
	}

	if ((size == 0U) || (size > BL_APP_SIZE)) {
		return 0x11;  // invalid size
	}

	if ((crc == 0U) || (crc == 0xFFFFFFFFU)) {
		return 0x12;  // Invalid CRC
	}

	if (appBase != BL_APP_BASE) {
		return 0x13;  // metadata does not correspond to this configuration
	}
	/* Recalculate CRC on the Flash app to be sure */
	uint32_t crcCalc = Bootloader_CalcCrc32(BL_APP_BASE, size);
	if (crcCalc != crc) {
		return 0x14;  // Calculated CRC does not match stored CRC
	}

	/* Check vector table (stack pointer and entry) */
	uint32_t appStack = *(__IO uint32_t*) BL_APP_BASE;
	uint32_t appEntry = *(__IO uint32_t*) (BL_APP_BASE + 4U);

	/* Stack in DTCM or D1 RAM. Previously this used bitmask checks
	 * (& 0x2FF00000 == 0x24000000) that accepted the full 1 MB above
	 * 0x24000000 — much larger than the real 320 KB RAM_D1 — while
	 * Bootloader_JumpToApplication used a stricter range check. That
	 * divergence let a malformed app pass Check and then silently
	 * fail at Jump time with only an LED_ERR_ON. Both now share the
	 * same predicate (see bl_app_validate.h). Issue #66. */
	if (!bl_app_stack_in_legal_range(appStack)) {
		return 0x15;
	}

	/* entry must be within the app's range */
	if ((appEntry < BL_APP_BASE)
			|| (appEntry >= (BL_APP_BASE + BL_APP_SIZE))) {
		return 0x16;  // entry out of range
	}

	return 0x00;  //OK
}

/* #166: ECC-brick-safe wrapper around the validation read.
 *
 * A power-cut mid-flash-write leaves a partially-programmed word whose
 * double-bit ECC raises a bus fault the instant it is read — and the reads in
 * Bootloader_CheckApplicationInner (CRC over the app image, metadata, vector
 * table) hit it on every boot, faulting before the BL ever services CAN.
 *
 * If last boot faulted while validating, the breadcrumb is pending: report the
 * app invalid (0x17) WITHOUT touching the corrupt flash, so the BL falls
 * through to its listen loop and stays reachable + reflashable. Otherwise arm
 * the guard around the reads — a fault inside Inner records the breadcrumb and
 * reboots, and the next boot lands in the branch above. */
static uint8_t Bootloader_CheckApplicationCompute(void) {
	if (g_ecc_recovery) {
		return 0x17;  /* recovery boot (G-A2): don't read app flash, stay in BL.
		               * The breadcrumb was already consumed in Bootloader_Init. */
	}
	bl_appcheck_arm(true);
	uint8_t result = Bootloader_CheckApplicationInner();
	/* NG-1: force any IMPRECISE ECC bus fault from the CRC read to retire here,
	 * while still armed, so bl_fault_reboot stamps the breadcrumb — otherwise a
	 * late fault after the disarm below would be lost and reboot-loop the BL. */
	__DSB();
	__ISB();
	bl_appcheck_arm(false);
	return result;
}

/* #146 H2: cached public entry point. The full CRC32 over the app
 * (Bootloader_CheckApplicationCompute) is too expensive to run every
 * main-loop tick; cache the verdict and recompute only when flash may have
 * changed (Bootloader_InvalidateAppCheckCache, called from the FLASH_*
 * handlers). The boot decision + jump path read the same cached value. */
uint8_t Bootloader_CheckApplication(void) {
	if (g_appcheck_valid == 0U) {
		g_appcheck_result = Bootloader_CheckApplicationCompute();
		g_appcheck_valid  = 1U;
	}
	return g_appcheck_result;
}

/* #146 H2: drop the cached verdict — call after any FLASH_* op so the next
 * Bootloader_CheckApplication re-reads flash. */
void Bootloader_InvalidateAppCheckCache(void) {
	g_appcheck_valid = 0U;
}

static uint8_t Bootloader_IsBootRequestActive(void) {
	/* Enable backup domain access.
	 PWR clock is already enabled by SystemClock_Config(), so we do not call
	 __HAL_RCC_PWR_CLK_ENABLE() here. */
	HAL_PWR_EnableBkUpAccess();

	/* Make sure RTC clock is enabled so backup registers are accessible */
	if ((RCC->BDCR & RCC_BDCR_RTCEN) == 0U) {
		__HAL_RCC_RTC_ENABLE();
	}

	uint32_t val = RTC->BKP0R;

	if (val == BL_BOOT_REQ_MAGIC) {
		/* Clear the flag so we do not stay in bootloader forever */
		RTC->BKP0R = 0U;
		return 1U;
	}

	/* #145: the RTC->BKP0R magic above is volatile — POR/BOR wipes it, so a
	 * power-cycle would otherwise auto-jump into a known-bad app the operator
	 * had parked in the BL (recovery = SWD = open the enclosure). A persistent
	 * NVM flag (sector 7) survives POR; honour it too. NOT one-shot — it holds
	 * across every reset until cleared by a FLASH_VERIFY (a new good image) or
	 * an explicit boot (JUMP / RESET mode 3); see bl_proto.c. */
	uint8_t stay_val = 0U;
	uint8_t stay_len = 0U;
	if (bl_nvm_read(BL_NVM_KEY_STAY_IN_BL, &stay_val, sizeof(stay_val), &stay_len) == BL_NVM_OK
	    && stay_len == 1U && stay_val == 1U) {
		return 1U;
	}

	return 0U;
}

/* #142: one-shot "boot the app via a clean reset" request. Set by
 * handle_jump / handle_reset (bl_proto) when a flash write happened in the
 * session; consumed here on the next boot. Reads + clears BKP0R only if it
 * holds BL_BOOT_APP_MAGIC, so a BL_BOOT_REQ_MAGIC (stay-in-BL) request is
 * left intact for Bootloader_IsBootRequestActive. */
static uint8_t Bootloader_IsBootAppRequestActive(void) {
	HAL_PWR_EnableBkUpAccess();
	if ((RCC->BDCR & RCC_BDCR_RTCEN) == 0U) {
		__HAL_RCC_RTC_ENABLE();
	}
	if (RTC->BKP0R == BL_BOOT_APP_MAGIC) {
		RTC->BKP0R = 0U;   /* one-shot */
		return 1U;
	}
	return 0U;
}

/* USER CODE END 4 */

void Error_Handler(void)
{
  /* USER CODE BEGIN Error_Handler_Debug */
	/* #125 H6: HAL failures (mostly clock config in SystemClock_Config)
	 * used to spin here forever — a marginal HSE would leave the board
	 * dead before CAN even started. Reboot instead so a transient
	 * failure self-recovers; a hard failure loops slowly (bl_fault's
	 * dwell) and stays SWD-recoverable. */
	__disable_irq();
	bl_fault_reboot(BL_FAULT_ERROR_HANDLER);
  /* USER CODE END Error_Handler_Debug */
}
